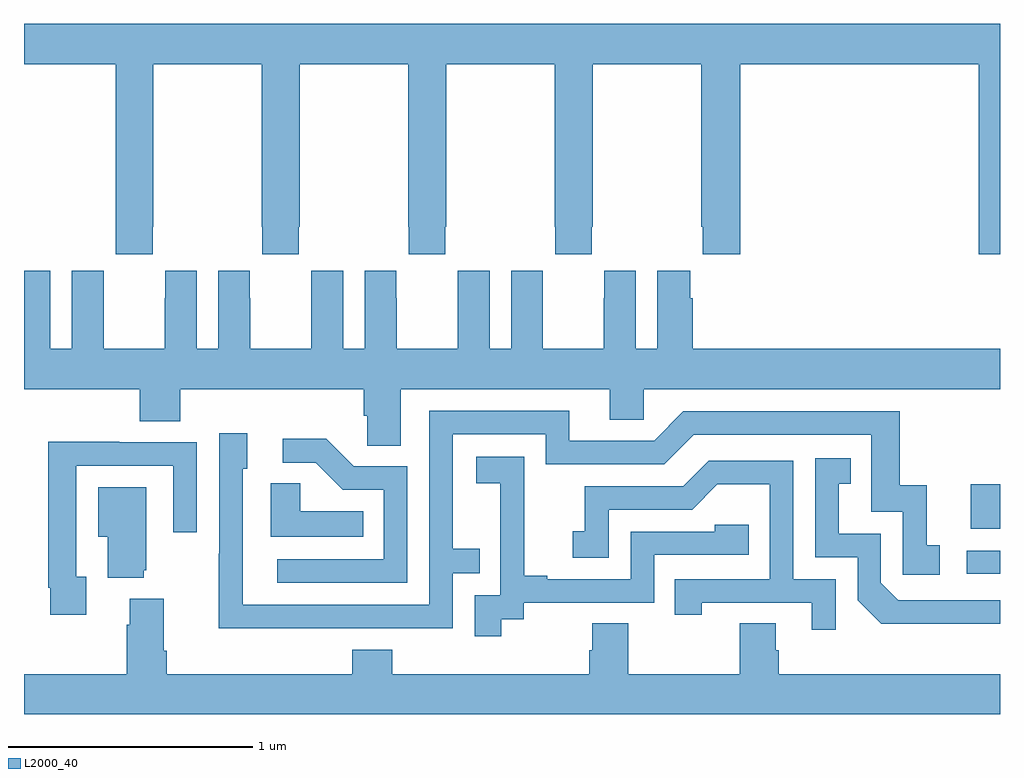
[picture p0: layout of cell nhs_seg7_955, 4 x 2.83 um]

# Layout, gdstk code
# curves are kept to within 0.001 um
import gdstk
lib = gdstk.Library(unit=1e-6, precision=1e-09)
def R(c, l, rs):  # rectangles x0, y0, x1, y1
    for r in rs: c.add(gdstk.rectangle(r[:2], r[2:], *l))
def P(c, l, *ps):  # polygons
    for p in ps: c.add(gdstk.Polygon(p, *l))
L2000_40 = (2000, 40)

nhs_seg7_955 = lib.new_cell('nhs_seg7_955')
R(nhs_seg7_955, L2000_40, [(184.863,1029.162,185,1029.258), (184.88,1029.347,185,1029.529)])
P(nhs_seg7_955, L2000_40, [(181.527,1030.585),(181.53,1030.585),(181.53,1031.252),(181.975,1031.252),(181.975,1030.585),(181.977,1030.585),(181.977,1030.473),(182.127,1030.473),(182.127,1030.585),(182.13,1030.585),(182.13,1031.252),(182.575,1031.252),(182.575,1030.585),(182.577,1030.585),(182.577,1030.473),(182.727,1030.473),(182.727,1030.585),(182.73,1030.585),(182.73,1031.252),(183.175,1031.252),(183.175,1030.585),(183.177,1030.585),(183.177,1030.473),(183.327,1030.473),(183.327,1030.585),(183.33,1030.585),(183.33,1031.252),(183.775,1031.252),(183.775,1030.585),(183.781,1030.585),(183.781,1030.473),(183.935,1030.473),(183.935,1031.252),(184.913,1031.252),(184.913,1030.473),(185,1030.473),(185,1031.416),(181,1031.416),(181,1031.252),(181.375,1031.252),(181.375,1030.585),(181.377,1030.585),(181.377,1030.473),(181.527,1030.473)],
  [(182.545,1029.92),(183.401,1029.92),(183.401,1029.793),(183.54,1029.793),(183.54,1029.92),(185,1029.92),(185,1030.084),(183.74,1030.084),(183.74,1030.292),(183.73,1030.292),(183.73,1030.405),(183.596,1030.405),(183.596,1030.084),(183.508,1030.084),(183.508,1030.405),(183.378,1030.405),(183.378,1030.292),(183.377,1030.292),(183.377,1030.084),(183.127,1030.084),(183.127,1030.292),(183.126,1030.292),(183.126,1030.405),(182.996,1030.405),(182.996,1030.084),(182.908,1030.084),(182.908,1030.405),(182.778,1030.405),(182.778,1030.292),(182.777,1030.292),(182.777,1030.084),(182.527,1030.084),(182.527,1030.292),(182.526,1030.292),(182.526,1030.405),(182.396,1030.405),(182.396,1030.084),(182.308,1030.084),(182.308,1030.405),(182.178,1030.405),(182.178,1030.292),(182.177,1030.292),(182.177,1030.084),(181.927,1030.084),(181.927,1030.292),(181.926,1030.292),(181.926,1030.405),(181.796,1030.405),(181.796,1030.084),(181.708,1030.084),(181.708,1030.405),(181.578,1030.405),(181.578,1030.292),(181.577,1030.292),(181.577,1030.084),(181.327,1030.084),(181.327,1030.292),(181.326,1030.292),(181.326,1030.405),(181.196,1030.405),(181.196,1030.084),(181.108,1030.084),(181.108,1030.405),(181,1030.405),(181,1029.92),(181.475,1029.92),(181.475,1029.787),(181.64,1029.787),(181.64,1029.92),(182.393,1029.92),(182.393,1029.811),(182.406,1029.811),(182.406,1029.688),(182.545,1029.688)],
  [(182.261,1028.94),(182.757,1028.94),(182.757,1029.165),(182.867,1029.165),(182.867,1029.266),(182.757,1029.266),(182.757,1029.735),(183.138,1029.735),(183.138,1029.612),(183.624,1029.612),(183.744,1029.732),(184.473,1029.732),(184.473,1029.417),(184.602,1029.417),(184.602,1029.159),(184.753,1029.159),(184.753,1029.279),(184.7,1029.279),(184.7,1029.526),(184.589,1029.526),(184.589,1029.828),(183.702,1029.828),(183.582,1029.708),(183.235,1029.708),(183.235,1029.831),(182.661,1029.831),(182.661,1029.036),(181.896,1029.036),(181.896,1029.594),(181.915,1029.594),(181.915,1029.739),(181.8,1029.739),(181.8,1029.245),(181.798,1029.245),(181.798,1028.939)],
  [(182.571,1029.603),(182.352,1029.603),(182.239,1029.716),(182.061,1029.716),(182.061,1029.618),(182.195,1029.618),(182.306,1029.507),(182.475,1029.507),(182.475,1029.222),(182.037,1029.222),(182.037,1029.126),(182.571,1029.126)],
  [(181.255,1029.15),(181.215,1029.15),(181.215,1029.606),(181.611,1029.606),(181.611,1029.333),(181.707,1029.333),(181.707,1029.702),(181.391,1029.702),(181.391,1029.704),(181.099,1029.704),(181.099,1029.106),(181.107,1029.106),(181.107,1028.994),(181.255,1028.994)],
  [(182.956,1028.977),(183.048,1028.977),(183.048,1029.045),(183.582,1029.045),(183.582,1029.24),(183.971,1029.24),(183.971,1029.363),(183.831,1029.363),(183.831,1029.336),(183.486,1029.336),(183.486,1029.141),(183.145,1029.141),(183.145,1029.154),(183.05,1029.154),(183.05,1029.437),(183.051,1029.437),(183.051,1029.643),(182.853,1029.643),(182.853,1029.533),(182.951,1029.533),(182.951,1029.305),(182.952,1029.305),(182.952,1029.075),(182.847,1029.075),(182.847,1028.907),(182.956,1028.907)],
  [(184.922,1028.958),(185,1028.958),(185,1029.054),(184.584,1029.054),(184.512,1029.126),(184.512,1029.327),(184.339,1029.327),(184.339,1029.531),(184.388,1029.531),(184.388,1029.637),(184.242,1029.637),(184.242,1029.231),(184.416,1029.231),(184.416,1029.054),(184.514,1028.957)],
  [(184.326,1029.141),(184.152,1029.141),(184.152,1029.627),(183.806,1029.627),(183.701,1029.522),(183.298,1029.522),(183.298,1029.337),(183.249,1029.337),(183.249,1029.228),(183.396,1029.228),(183.396,1029.426),(183.738,1029.426),(183.842,1029.53),(184.056,1029.53),(184.056,1029.141),(183.667,1029.141),(183.667,1028.994),(183.778,1028.994),(183.778,1029.045),(184.229,1029.045),(184.229,1028.934),(184.326,1028.934)],
  [(182.39,1029.418),(182.133,1029.418),(182.133,1029.533),(182.012,1029.533),(182.012,1029.314),(182.39,1029.314)],
  [(181.49,1029.177),(181.501,1029.177),(181.501,1029.517),(181.304,1029.517),(181.304,1029.314),(181.343,1029.314),(181.343,1029.146),(181.49,1029.146)],
  [(185,1028.752),(184.094,1028.752),(184.094,1028.85),(184.081,1028.85),(184.081,1028.96),(183.934,1028.96),(183.934,1028.752),(183.477,1028.752),(183.477,1028.96),(183.329,1028.96),(183.329,1028.85),(183.317,1028.85),(183.317,1028.752),(182.51,1028.752),(182.51,1028.851),(182.345,1028.851),(182.345,1028.752),(181.586,1028.752),(181.586,1028.848),(181.573,1028.848),(181.573,1029.061),(181.433,1029.061),(181.433,1028.954),(181.421,1028.954),(181.421,1028.752),(181,1028.752),(181,1028.588),(185,1028.588)])

lib.write_gds('nhs_seg7_955.gds')
